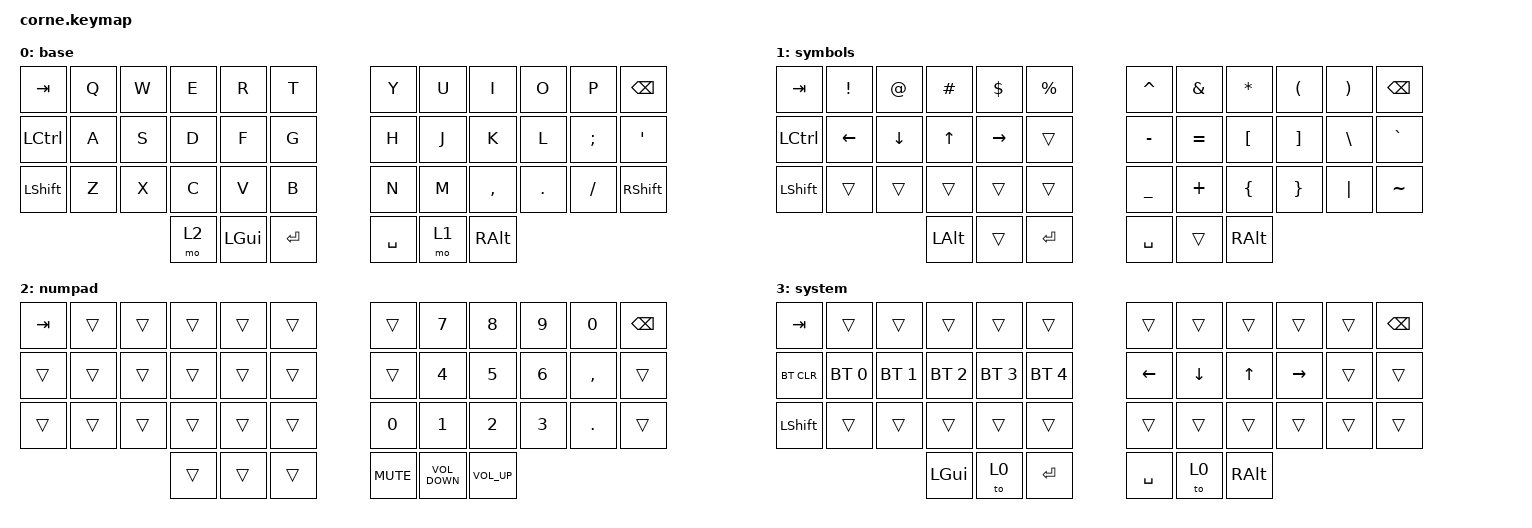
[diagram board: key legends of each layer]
/*
 * Copyright (c) 2020 The ZMK Contributors
 *
 * SPDX-License-Identifier: MIT
 */

#include <behaviors.dtsi>
#include <dt-bindings/zmk/bt.h>
#include <dt-bindings/zmk/keys.h>

/ {
    combos {
        compatible = "zmk,combos";

        combo_esc {
            bindings = <&kp ESC>;
            key-positions = <0 1>;
        };

        combo_system_layer {
            bindings = <&to 3>;
            key-positions = <40 39 41>;
        };
    };

    keymap {
        compatible = "zmk,keymap";

        base_layer {
            // -----------------------------------------------------------------------------------------
            // |  TAB |  Q  |  W  |  E  |  R  |  T  |   |  Y  |  U   |  I  |  O  |  P  | BSPC |
            // | CTRL |  A  |  S  |  D  |  F  |  G  |   |  H  |  J   |  K  |  L  |  ;  |  '   |
            // | SHFT |  Z  |  X  |  C  |  V  |  B  |   |  N  |  M   |  ,  |  .  |  /  | ESC  |
            //                    | GUI | LWR | SPC |   | ENT | RSE  | ALT |

            bindings = <
&kp TAB    &kp Q  &kp W  &kp E  &kp R     &kp T        &kp Y      &kp U  &kp I      &kp O    &kp P     &kp BSPC
&kp LCTRL  &kp A  &kp S  &kp D  &kp F     &kp G        &kp H      &kp J  &kp K      &kp L    &kp SEMI  &kp SQT
&kp LSHFT  &kp Z  &kp X  &kp C  &kp V     &kp B        &kp N      &kp M  &kp COMMA  &kp DOT  &kp FSLH  &kp RSHIFT
                         &mo 2  &kp LGUI  &kp ENTER    &kp SPACE  &mo 1  &kp RALT
            >;

            label = "base";
        };

        symbols_layer {
            // -----------------------------------------------------------------------------------------
            // |  TAB |  !  |  @  |  #  |  $  |  %  |   |  ^  |  &  |  *  |  (  |  )  | BSPC |
            // | CTRL |     |     |     |     |     |   |  -  |  =  |  [  |  ]  |  \  |  `   |
            // | SHFT |     |     |     |     |     |   |  _  |  +  |  {  |  }  | "|" |  ~   |
            //                    | GUI |     | SPC |   | ENT |     | ALT |

            bindings = <
&kp TAB    &kp EXCL        &kp AT          &kp HASH      &kp DLLR         &kp PRCNT    &kp CARET  &kp AMPS   &kp ASTRK  &kp LPAR  &kp RPAR  &kp BSPC
&kp LCTRL  &kp LEFT_ARROW  &kp DOWN_ARROW  &kp UP_ARROW  &kp RIGHT_ARROW  &trans       &kp MINUS  &kp EQUAL  &kp LBKT   &kp RBKT  &kp BSLH  &kp GRAVE
&kp LSHFT  &trans          &trans          &trans        &trans           &trans       &kp UNDER  &kp PLUS   &kp LBRC   &kp RBRC  &kp PIPE  &kp TILDE
                                           &kp LEFT_ALT  &trans           &kp ENTER    &kp SPACE  &trans     &kp RALT
            >;

            label = "symbols";
        };

        numpad_layer {
            bindings = <
&kp TAB  &trans  &trans  &trans  &trans  &trans    &trans      &kp N7             &kp N8           &kp N9  &kp N0     &kp BACKSPACE
&trans   &trans  &trans  &trans  &trans  &trans    &trans      &kp N4             &kp N5           &kp N6  &kp COMMA  &trans
&trans   &trans  &trans  &trans  &trans  &trans    &kp N0      &kp N1             &kp N2           &kp N3  &kp DOT    &trans
                         &trans  &trans  &trans    &kp C_MUTE  &kp C_VOLUME_DOWN  &kp C_VOLUME_UP
            >;

            label = "numpad";
        };

        system_layer {
            // -----------------------------------------------------------------------------------------
            // |  TAB |  1  |  2  |  3  |  4  |  5  |   |  6  |  7  |  8  |  9  |  0  | BSPC |
            // | BTCLR| BT1 | BT2 | BT3 | BT4 | BT5 |   | LFT | DWN |  UP | RGT |     |      |
            // | SHFT |     |     |     |     |     |   |     |     |     |     |     |      |
            //                    | GUI |     | SPC |   | ENT |     | ALT |

            bindings = <
&kp TAB     &trans        &trans        &trans        &trans        &trans          &trans     &trans    &trans    &trans     &trans  &kp BSPC
&bt BT_CLR  &bt BT_SEL 0  &bt BT_SEL 1  &bt BT_SEL 2  &bt BT_SEL 3  &bt BT_SEL 4    &kp LEFT   &kp DOWN  &kp UP    &kp RIGHT  &trans  &trans
&kp LSHFT   &trans        &trans        &trans        &trans        &trans          &trans     &trans    &trans    &trans     &trans  &trans
                                        &kp LGUI      &to 0         &kp RET         &kp SPACE  &to 0     &kp RALT
            >;

            label = "system";
        };
    };
};
